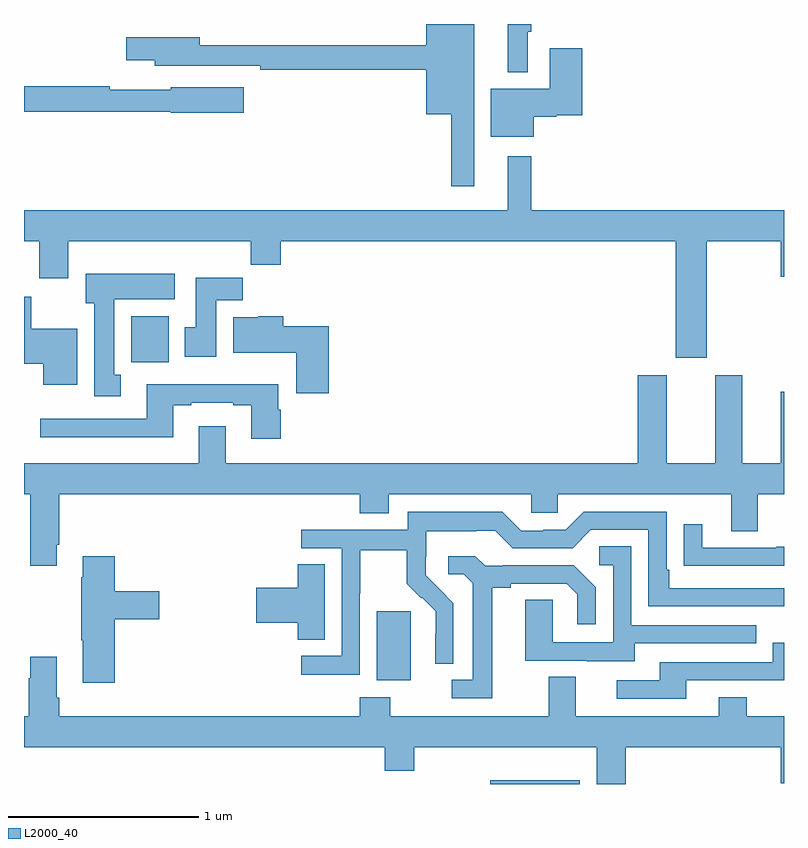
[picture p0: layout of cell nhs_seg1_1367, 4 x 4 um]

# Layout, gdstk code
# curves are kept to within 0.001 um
import gdstk
lib = gdstk.Library(unit=1e-6, precision=1e-09)
def R(c, l, rs):  # rectangles x0, y0, x1, y1
    for r in rs: c.add(gdstk.rectangle(r[:2], r[2:], *l))
def P(c, l, *ps):  # polygons
    for p in ps: c.add(gdstk.Polygon(p, *l))
L2000_40 = (2000, 40)

nhs_seg1_1367 = lib.new_cell('nhs_seg1_1367')
R(nhs_seg1_1367, L2000_40, [(187.455,558.199,187.924,558.22), (186.857,558.746,187.036,559.107), (185.564,560.42,185.761,560.662)])
P(nhs_seg1_1367, L2000_40, [(187.651,562.159),(187.669,562.159),(187.669,562.199),(187.547,562.199),(187.547,561.944),(187.651,561.944)],
  [(187.369,562.199),(187.118,562.199),(187.118,562.087),(185.926,562.087),(185.926,562.129),(185.538,562.129),(185.538,562.007),(185.687,562.007),(185.687,561.978),(186.244,561.978),(186.244,561.958),(187.118,561.958),(187.118,561.725),(187.248,561.725),(187.248,561.345),(187.369,561.345)],
  [(187.684,561.712),(187.8,561.712),(187.8,561.719),(187.937,561.719),(187.937,562.072),(187.766,562.072),(187.766,561.859),(187.457,561.859),(187.457,561.605),(187.684,561.605)],
  [(186.157,561.865),(185.772,561.865),(185.772,561.852),(185.45,561.852),(185.45,561.872),(185,561.872),(185,561.736),(185.772,561.736),(185.772,561.731),(186.157,561.731)],
  [(188.593,561.056),(188.984,561.056),(188.984,560.868),(189,560.868),(189,561.22),(187.669,561.22),(187.669,561.502),(187.547,561.502),(187.547,561.22),(185,561.22),(185,561.056),(185.081,561.056),(185.081,560.862),(185.233,560.862),(185.233,561.056),(186.193,561.056),(186.193,560.932),(186.35,560.932),(186.35,561.056),(188.429,561.056),(188.429,560.442),(188.593,560.442)],
  [(185.509,560.354),(185.476,560.354),(185.476,560.75),(185.794,560.75),(185.794,560.884),(185.324,560.884),(185.324,560.73),(185.369,560.73),(185.369,560.241),(185.509,560.241)],
  [(186.013,560.744),(186.152,560.744),(186.152,560.863),(185.903,560.863),(185.903,560.604),(185.846,560.604),(185.846,560.448),(186.013,560.448)],
  [(185.281,560.596),(185.038,560.596),(185.038,560.764),(185,560.764),(185,560.411),(185.102,560.411),(185.102,560.3),(185.281,560.3)],
  [(186.605,560.608),(186.365,560.608),(186.365,560.662),(186.234,560.662),(186.234,560.656),(186.101,560.656),(186.101,560.468),(186.434,560.468),(186.434,560.256),(186.605,560.256)],
  [(185.173,559.459),(185.186,559.459),(185.186,559.724),(186.767,559.724),(186.767,559.625),(186.919,559.625),(186.919,559.724),(187.671,559.724),(187.671,559.626),(187.809,559.626),(187.809,559.724),(188.723,559.724),(188.723,559.53),(188.863,559.53),(188.863,559.724),(189,559.724),(189,560.263),(188.984,560.263),(188.984,559.888),(188.779,559.888),(188.779,560.35),(188.639,560.35),(188.639,559.888),(188.383,559.888),(188.383,560.35),(188.231,560.35),(188.231,559.888),(186.061,559.888),(186.061,560.083),(185.921,560.083),(185.921,559.888),(185,559.888),(185,559.724),(185.033,559.724),(185.033,559.347),(185.173,559.347)],
  [(186.35,560.168),(186.337,560.168),(186.337,560.302),(185.645,560.302),(185.645,560.121),(185.085,560.121),(185.085,560.024),(185.785,560.024),(185.785,560.193),(185.881,560.193),(185.881,560.205),(186.101,560.205),(186.101,560.193),(186.197,560.193),(186.197,560.016),(186.35,560.016)],
  [(186.768,559.204),(186.771,559.204),(186.771,559.428),(187.015,559.428),(187.015,559.253),(187.092,559.176),(187.095,559.179),(187.166,559.109),(187.166,558.986),(187.164,558.986),(187.164,558.832),(187.26,558.832),(187.26,559.15),(187.114,559.298),(187.114,559.395),(187.116,559.395),(187.116,559.529),(187.379,559.529),(187.379,559.533),(187.479,559.533),(187.572,559.44),(187.887,559.44),(187.983,559.536),(188.286,559.536),(188.286,559.134),(189,559.134),(189,559.23),(188.395,559.23),(188.395,559.327),(188.382,559.327),(188.382,559.632),(187.947,559.632),(187.851,559.536),(187.733,559.536),(187.733,559.533),(187.617,559.533),(187.517,559.633),(187.02,559.633),(187.02,559.536),(186.459,559.536),(186.459,559.44),(186.672,559.44),(186.672,558.873),(186.459,558.873),(186.459,558.775),(186.768,558.775)],
  [(189,559.448),(188.959,559.448),(188.959,559.443),(188.569,559.443),(188.569,559.567),(188.473,559.567),(188.473,559.348),(188.575,559.348),(188.575,559.347),(189,559.347)],
  [(188.215,558.939),(188.855,558.939),(188.855,559.035),(188.196,559.035),(188.196,559.451),(188.028,559.451),(188.028,559.35),(188.1,559.35),(188.1,558.945),(187.782,558.945),(187.782,559.169),(187.637,559.169),(187.637,558.849),(187.961,558.849),(187.961,558.845),(188.215,558.845)],
  [(187.465,559.232),(187.561,559.232),(187.561,559.254),(187.856,559.254),(187.913,559.197),(187.913,559.041),(188.01,559.041),(188.01,559.234),(187.894,559.35),(187.522,559.35),(187.522,559.347),(187.428,559.347),(187.376,559.399),(187.233,559.399),(187.233,559.302),(187.314,559.302),(187.361,559.255),(187.361,558.747),(187.251,558.747),(187.251,558.651),(187.465,558.651)],
  [(185.477,559.067),(185.713,559.067),(185.713,559.214),(185.477,559.214),(185.477,559.399),(185.309,559.399),(185.309,559.286),(185.302,559.286),(185.302,558.955),(185.309,558.955),(185.309,558.732),(185.477,558.732)],
  [(186.583,559.355),(186.44,559.355),(186.44,559.232),(186.222,559.232),(186.222,559.049),(186.44,559.049),(186.44,558.958),(186.583,558.958)],
  [(188.485,558.744),(189,558.744),(189,558.943),(188.94,558.943),(188.94,558.84),(188.345,558.84),(188.345,558.744),(188.121,558.744),(188.121,558.648),(188.485,558.648)],
  [(188.168,558.392),(188.984,558.392),(188.984,558.204),(189,558.204),(189,558.556),(188.805,558.556),(188.805,558.655),(188.657,558.655),(188.657,558.556),(187.903,558.556),(187.903,558.764),(187.763,558.764),(187.763,558.556),(186.927,558.556),(186.927,558.655),(186.767,558.655),(186.767,558.556),(185.186,558.556),(185.186,558.652),(185.173,558.652),(185.173,558.868),(185.033,558.868),(185.033,558.755),(185.026,558.755),(185.026,558.556),(185,558.556),(185,558.392),(186.899,558.392),(186.899,558.268),(187.055,558.268),(187.055,558.392),(188.015,558.392),(188.015,558.199),(188.168,558.199)])

lib.write_gds('nhs_seg1_1367.gds')
